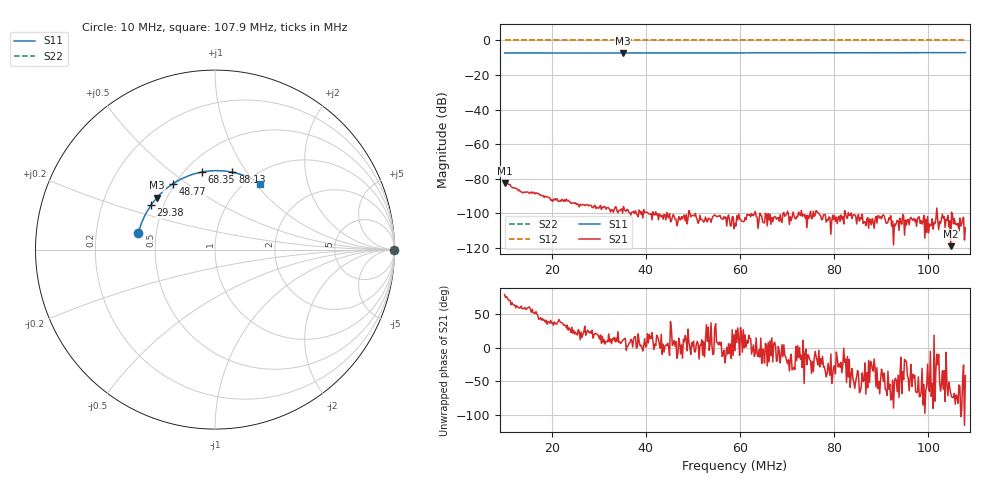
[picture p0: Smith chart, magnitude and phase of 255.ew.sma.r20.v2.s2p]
! Anritsu VNA Master:  Model: MS2036C/10/77
! SN:  1601066
! /card0/usr/255.ew.sma.r20.v2.s2p
! Existing Calibration Information:
! TYPE:  Current Settings,  Active Cal Settings
! TIME:  12/17/2017 06:14:47 PM,  12/17/2017 06:11:23 PM
! INTERNAL TEMP:  43.8 C,  43.8 C
! # POINTS:  501,  501
! START FREQ:  10.000 MHz,  10.000 MHz
! STOP FREQ:  107.903 125 MHz,  107.903 125 MHz
! SOURCE POWER:  High,  High
! IFBW:  100 Hz,  100 Hz
! AVG FACTOR:  1 ,  1
! REF PLANE 1:  0 mm,  0 mm
! REF PLANE 2:  0 mm,  0 mm
! CAL TYPE:  Full S11,  Full S11
! CAL METHOD:  SOLT,  SOLT
! CAL LINE TYPE:  Coax,  Coax
! DUT PORT 1:  K-Conn(F),  K-Conn(F)
! DUT PORT 2:  K-Conn(F),  K-Conn(F)
! CAL STATUS:  OK: Accuracy High,  --
# GHZ S DB R 50.0
! FREQ.GHZ  S11DB  S11A  S21DB  S21A  S12DB  S12A  S22DB  S22A
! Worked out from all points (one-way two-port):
!   501 points, 10 MHz to 107.9 MHz, reference 50 ohm
!   highest |S21| = -82.38 dB at 10 MHz (marker M1); lowest = -119.0 dB at 104.8 MHz (marker M2)
!   lowest |S11| = -7.3 dB at 35.06 MHz (marker M3), VSWR 2.53, Z = 22.1 + j15.7 ohm
!   |S11| at or under -10 dB: nowhere
!   |S22| runs from 0.0 to 0.0 dB; largest |S21 - S12| = 1
!   S11 on the Smith chart (normalised r, x): 10 MHz: 0.40, +0.09; 29.38 MHz: 0.43, +0.26; 48.77 MHz: 0.49, +0.44; 68.35 MHz: 0.60, +0.64; 88.13 MHz: 0.80, +0.86; 107.9 MHz: 1.16, +1.06
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0.01  -7.21 167.9  -82.38 78.8  0.00 0.0  0.00 0.0
0.01411193  -7.21 162.9  -87.64 58.2  0.00 0.0  0.00 0.0
0.01763644  -7.23 158.7  -89.28 44.5  0.00 0.0  0.00 0.0
0.02155257  -7.23 154.1  -93.12 41.7  0.00 0.0  0.00 0.0
0.02644772  -7.26 148.4  -95.20 15.0  0.00 0.0  0.00 0.0
0.02938482  -7.24 144.9  -97.14 20.9  0.00 0.0  0.00 0.0
0.0350632  -7.26 138.2  -99.83 10.1  0.00 0.0  0.00 0.0
0.03741287  -7.22 135.5  -98.81 12.9  0.00 0.0  0.00 0.0
0.04269964  -7.25 129.3  -103.67 12.0  0.00 0.0  0.00 0.0
0.04387448  -7.22 127.9  -100.60 -6.7  0.00 0.0  0.00 0.0
0.04876964  -7.23 122.3  -106.06 -4.9  0.00 0.0  0.00 0.0
0.05464383  -7.21 115.4  -100.89 29.2  0.00 0.0  0.00 0.0
0.05914737  -7.19 110.3  -107.37 25.8  0.00 0.0  0.00 0.0
0.06286769  -7.17 106.1  -101.32 3.9  0.00 0.0  0.00 0.0
0.06835026  -7.16 99.7  -104.51 -5.3  0.00 0.0  0.00 0.0
0.07539929  -7.14 91.8  -102.88 -20.5  0.00 0.0  0.00 0.0
0.08186089  -7.11 84.4  -101.95 -25.6  0.00 0.0  0.00 0.0
0.08812669  -7.09 77.3  -102.95 -31.9  0.00 0.0  0.00 0.0
0.09165121  -7.07 73.4  -102.58 -62.0  0.00 0.0  0.00 0.0
0.09928765  -7.05 64.9  -114.30 -97.6  0.00 0.0  0.00 0.0
0.1047702  -7.03 58.9  -118.96 -67.7  0.00 0.0  0.00 0.0
0.1079031  -7.02 55.4  -108.35 -41.7  0.00 0.0  0.00 0.0
